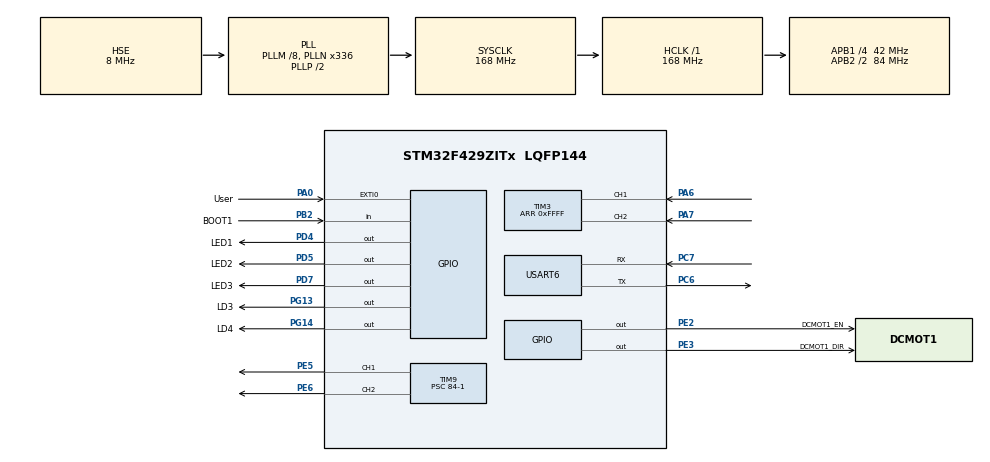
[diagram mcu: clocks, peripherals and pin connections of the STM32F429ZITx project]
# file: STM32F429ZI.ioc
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Mcu.Family=STM32F4
Mcu.Name=STM32F429ZITx
Mcu.Package=LQFP144
NVIC.EXTI0_IRQn=true\:0\:0\:false\:true\:true\:1\:true\:true
NVIC.PriorityGroup=NVIC_PRIORITYGROUP_4
NVIC.TIM1_BRK_TIM9_IRQn=true\:0\:0\:false\:true\:true\:4\:true\:true
NVIC.TIM3_IRQn=true\:0\:0\:false\:false\:true\:true\:true
NVIC.TIM6_DAC_IRQn=true\:0\:0\:false\:true\:true\:2\:true\:true
NVIC.USART6_IRQn=true\:0\:0\:false\:false\:true\:true\:true
PA0/WKUP.GPIO_Label=User
PA0/WKUP.Signal=GPXTI0
PA13.Mode=JTAG_4_pins
PA13.Signal=SYS_JTMS-SWDIO
PA14.Mode=JTAG_4_pins
PA14.Signal=SYS_JTCK-SWCLK
PA15.Mode=JTAG_4_pins
PA15.Signal=SYS_JTDI
PA6.GPIO_Speed=GPIO_SPEED_FREQ_VERY_HIGH
PA6.Signal=S_TIM3_CH1
PA7.GPIO_Speed=GPIO_SPEED_FREQ_VERY_HIGH
PA7.Signal=S_TIM3_CH2
PB2/BOOT1.GPIO_Label=BOOT1
PB2/BOOT1.Signal=GPIO_Input
PB3.Mode=JTAG_4_pins
PB3.Signal=SYS_JTDO-SWO
PC6.Mode=Asynchronous
PC6.Signal=USART6_TX
PC7.Mode=Asynchronous
PC7.Signal=USART6_RX
PD4.GPIO_Label=LED1
PD4.GPIO_ModeDefaultOutputPP=GPIO_MODE_OUTPUT_PP
PD4.GPIO_PuPd=GPIO_NOPULL
PD4.GPIO_Speed=GPIO_SPEED_FREQ_VERY_HIGH
PD4.PinState=GPIO_PIN_RESET
PD4.Signal=GPIO_Output
PD5.GPIO_Label=LED2
PD5.GPIO_ModeDefaultOutputPP=GPIO_MODE_OUTPUT_PP
PD5.GPIO_PuPd=GPIO_NOPULL
PD5.GPIO_Speed=GPIO_SPEED_FREQ_VERY_HIGH
PD5.PinState=GPIO_PIN_RESET
PD5.Signal=GPIO_Output
PD7.GPIO_Label=LED3
PD7.GPIO_ModeDefaultOutputPP=GPIO_MODE_OUTPUT_PP
PD7.GPIO_PuPd=GPIO_NOPULL
PD7.GPIO_Speed=GPIO_SPEED_FREQ_VERY_HIGH
PD7.PinState=GPIO_PIN_RESET
PD7.Signal=GPIO_Output
PE2.GPIO_Label=DCMOT1_EN
PE2.GPIO_Speed=GPIO_SPEED_FREQ_VERY_HIGH
PE2.Signal=GPIO_Output
PE3.GPIO_Label=DCMOT1_DIR
PE3.GPIO_Speed=GPIO_SPEED_FREQ_VERY_HIGH
PE3.Signal=GPIO_Output
PE5.Signal=S_TIM9_CH1
PE6.Signal=S_TIM9_CH2
PG13.GPIO_Label=LD3
PG13.Signal=GPIO_Output
PG14.GPIO_Label=LD4
PG14.Signal=GPIO_Output
PH0/OSC_IN.Mode=HSE-External-Clock-Source
PH0/OSC_IN.Signal=RCC_OSC_IN
PH1/OSC_OUT.Mode=HSE-External-Clock-Source
PH1/OSC_OUT.Signal=RCC_OSC_OUT
ProjectManager.HeapSize=0x200
ProjectManager.StackSize=0x400
ProjectManager.TargetToolchain=EWARM V8
RCC.48MHZClocksFreq_Value=84000000
RCC.AHBFreq_Value=168000000
RCC.APB1CLKDivider=RCC_HCLK_DIV4
RCC.APB1Freq_Value=42000000
RCC.APB1TimFreq_Value=84000000
RCC.APB2CLKDivider=RCC_HCLK_DIV2
RCC.APB2Freq_Value=84000000
RCC.APB2TimFreq_Value=168000000
RCC.CortexFreq_Value=168000000
RCC.HCLKFreq_Value=168000000
RCC.HSE_VALUE=8000000
RCC.HSI_VALUE=16000000
RCC.LSE_VALUE=32768
RCC.PLLM=8
RCC.PLLN=336
RCC.PLLSAIN=432
RCC.PLLSourceVirtual=RCC_PLLSOURCE_HSE
RCC.SYSCLKFreq_VALUE=168000000
RCC.SYSCLKSource=RCC_SYSCLKSOURCE_PLLCLK
RCC.VCOOutputFreq_Value=336000000
SH.S_TIM3_CH1.0=TIM3_CH1,Encoder_Interface
SH.S_TIM3_CH2.0=TIM3_CH2,Encoder_Interface
SH.S_TIM9_CH1.0=TIM9_CH1,PWM Generation1 CH1
SH.S_TIM9_CH2.0=TIM9_CH2,PWM Generation2 CH2
TIM3.Period=0xFFFF
TIM6.Period=1000-1
TIM6.Prescaler=84-1
TIM9.Channel-PWM\ Generation1\ CH1=TIM_CHANNEL_1
TIM9.Channel-PWM\ Generation2\ CH2=TIM_CHANNEL_2
TIM9.Period=100-1
TIM9.Prescaler=84-1
TIM9.Pulse-PWM\ Generation1\ CH1=30
TIM9.Pulse-PWM\ Generation2\ CH2=70
USART6.VirtualMode=VM_ASYNC
VP_TIM6_VS_ClockSourceINT.Mode=Enable_Timer
board=custom

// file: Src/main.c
/* USER CODE BEGIN Header */
/**
  ******************************************************************************
  * @file           : main.c
  * @brief          : Main program body
  ******************************************************************************
  * @attention
  *
  * <h2><center>&copy; Copyright (c) 2020 STMicroelectronics.
  * All rights reserved.</center></h2>
  *
  * This software component is licensed by ST under BSD 3-Clause license,
  * the "License"; You may not use this file except in compliance with the
  * License. You may obtain a copy of the License at:
  *                        opensource.org/licenses/BSD-3-Clause
  *
  ******************************************************************************
  */
/* USER CODE END Header */

#include "main.h"

/* USER CODE BEGIN Includes */
#include <stdio.h>
#include <string.h>
#include <math.h>
#include "math.h"
#include "mathext.h"
#include "DcMotor.h"
#include "DcMotorExtern.h"

/* USER CODE END Includes */

/* USER CODE BEGIN PD */
#define PI  3.14159265358979323846264338327950288419716939937510582097494459230781640628
#define DIR_CW GPIO_PIN_RESET
#define DIR_CCW GPIO_PIN_SET
#define PWM_MAX_PERIOD 100
#define PWM_PULSE_STEP 1

#define PWM_MAX_STEP  10
#define SUM_TYPE 1
#define PWM_MIN_POSITIVE 25
#define PWM_MIN_NEGATIVE 25

/* USER CODE END PD */

/* USER CODE BEGIN PM */
#define DCmotor_EN() HAL_GPIO_WritePin(DCMOT1_EN_GPIO_Port, DCMOT1_EN_Pin, GPIO_PIN_RESET)
#define DCmotor_Dis() HAL_GPIO_WritePin(DCMOT1_EN_GPIO_Port, DCMOT1_EN_Pin, GPIO_PIN_SET)

#define DCmotor_CW() HAL_GPIO_WritePin(DCMOT1_DIR_GPIO_Port, DCMOT1_DIR_Pin, GPIO_PIN_RESET)
#define DCmotor_CCW() HAL_GPIO_WritePin(DCMOT1_DIR_GPIO_Port, DCMOT1_DIR_Pin, GPIO_PIN_SET)

#define DCmotor_ReadEN() ((int16_t) __HAL_TIM_GET_COUNTER(&htim3)

void DCmotor_setDutyPulse(TIM_HandleTypeDef *htim, int16_t pulse);

#define round(x) ((x)>=0?(long)((x)+0.5):(long)((x)-0.5))
/* USER CODE END PM */

TIM_HandleTypeDef htim3;
TIM_HandleTypeDef htim6;
TIM_HandleTypeDef htim9;

UART_HandleTypeDef huart6;

/* USER CODE BEGIN PV */
 int16_t nTim3CNT16Now=0;
 int16_t nTim3CNT16Old=0, nTim3CNT16Diff = 0;

 int nMot1Velocity=0;

   char string[150];
   int32_t nEncoder32Now=0;//32비트 엔코더용
   int32_t nEncoder32Old=0;//32비트 엔코더용
   int32_t nEncoder32Diff=0;//32비트 엔코더 차이

   int16_t step=0;
   int16_t PwmDuty =0;

/* USER CODE END PV */

void SystemClock_Config(void);
static void MX_GPIO_Init(void);
static void MX_TIM6_Init(void);
static void MX_TIM3_Init(void);
static void MX_TIM9_Init(void);
static void MX_USART6_UART_Init(void);
static void MX_NVIC_Init(void);

/* USER CODE BEGIN 0 */
void DCmotor_setDutyPulse(TIM_HandleTypeDef *htim, int16_t pulse)
{
  if(pulse >= 100)
  {
    pulse = 100;
  }
  else if(pulse < -100)
  {
    pulse = -100;
  }
  DCmotor_EN();

  if(pulse >= 0)
     {
       DCmotor_CW();
        __HAL_TIM_SET_COMPARE(htim, TIM_CHANNEL_1, pulse);
     }
     else
     {
       DCmotor_CCW();
        __HAL_TIM_SET_COMPARE(htim, TIM_CHANNEL_1, -1*pulse);
     }
  HAL_TIM_PWM_Start(htim, TIM_CHANNEL_1);
}

void ReadEncoder()
{
		nTim3CNT16Now = __HAL_TIM_GET_COUNTER(&htim3);
		//엔코더 위치값 차이 계산
		nTim3CNT16Diff = nTim3CNT16Now - nTim3CNT16Old;
		nTim3CNT16Old = nTim3CNT16Now; //현재값을 old에 저장
		nEncoder32Now += nTim3CNT16Diff;//16비트 엔코더 차이값을 더해서 32비트 엔코더 저장변수생성
		nEncoder32Diff =nEncoder32Now-nEncoder32Old;
		nEncoder32Old = nEncoder32Now;
}

/* USER CODE END 0 */

int main(void)
{

  /* MCU Configuration--------------------------------------------------------*/

  /* Reset of all peripherals, Initializes the Flash interface and the Systick. */
  HAL_Init();

  /* Configure the system clock */
  SystemClock_Config();

  /* Initialize all configured peripherals */
  MX_GPIO_Init();
  MX_TIM6_Init();
  MX_TIM3_Init();
  MX_TIM9_Init();
  MX_USART6_UART_Init();

  /* Initialize interrupts */
  MX_NVIC_Init();
  /* USER CODE BEGIN 2 */
  HAL_TIM_Base_Start_IT(&htim6);
   HAL_TIM_Encoder_Start(&htim3, TIM_CHANNEL_1 | TIM_CHANNEL_2 );
   HAL_TIM_PWM_Start(&htim9, TIM_CHANNEL_1);
  /* USER CODE END 2 */

  /* Infinite loop */
  while (1)
  {

    /* USER CODE BEGIN 3 */
      //nTim3CNT16Now = __HAL_TIM_GET_COUNTER(&htim3);
      /*
      nMot1Velocity = round(100*sin(2*PI*nStep/100.) );
      DcMotor1SetDutyPulse(&htim9, nMot1Velocity );
      */

      ReadEncoder();
      sprintf(string, "%4d %8d %8d %8d \r\n", step, PwmDuty, nEncoder32Now, nEncoder32Diff);
	DCmotor_setDutyPulse(&htim9, PwmDuty);
	HAL_UART_Transmit(&huart6, (uint8_t *)string, strlen(string), 0xFFFF);
	step++;
	HAL_Delay(1000-1);

    //HAL_StatusTypeDef HAL_UART_Transmit(UART_HandleTypeDef *huart, uint8_t *pData, uint16_t Size, uint32_t Timeout);
      // 문자열 길이많큼 출력
     // HAL_UART_Transmit(&huart1, (uint8_t *)"U", strlen("U"), 0xFFFF);
  //    HAL_GPIO_TogglePin(LD3_GPIO_Port, LD3_Pin);
   //   HAL_Delay(1000-1);
  }
  /* USER CODE END 3 */
}

void SystemClock_Config(void)
{
  RCC_OscInitTypeDef RCC_OscInitStruct = {0};
  RCC_ClkInitTypeDef RCC_ClkInitStruct = {0};

  /** Configure the main internal regulator output voltage
  */
  __HAL_RCC_PWR_CLK_ENABLE();
  __HAL_PWR_VOLTAGESCALING_CONFIG(PWR_REGULATOR_VOLTAGE_SCALE1);
  /** Initializes the CPU, AHB and APB busses clocks
  */
  RCC_OscInitStruct.OscillatorType = RCC_OSCILLATORTYPE_HSE;
  RCC_OscInitStruct.HSEState = RCC_HSE_BYPASS;
  RCC_OscInitStruct.PLL.PLLState = RCC_PLL_ON;
  RCC_OscInitStruct.PLL.PLLSource = RCC_PLLSOURCE_HSE;
  RCC_OscInitStruct.PLL.PLLM = 8;
  RCC_OscInitStruct.PLL.PLLN = 336;
  RCC_OscInitStruct.PLL.PLLP = RCC_PLLP_DIV2;
  RCC_OscInitStruct.PLL.PLLQ = 4;
  if (HAL_RCC_OscConfig(&RCC_OscInitStruct) != HAL_OK)
  {
    Error_Handler();
  }
  /** Initializes the CPU, AHB and APB busses clocks
  */
  RCC_ClkInitStruct.ClockType = RCC_CLOCKTYPE_HCLK|RCC_CLOCKTYPE_SYSCLK
                              |RCC_CLOCKTYPE_PCLK1|RCC_CLOCKTYPE_PCLK2;
  RCC_ClkInitStruct.SYSCLKSource = RCC_SYSCLKSOURCE_PLLCLK;
  RCC_ClkInitStruct.AHBCLKDivider = RCC_SYSCLK_DIV1;
  RCC_ClkInitStruct.APB1CLKDivider = RCC_HCLK_DIV4;
  RCC_ClkInitStruct.APB2CLKDivider = RCC_HCLK_DIV2;

  if (HAL_RCC_ClockConfig(&RCC_ClkInitStruct, FLASH_LATENCY_5) != HAL_OK)
  {
    Error_Handler();
  }
}

/**
  * @brief NVIC Configuration.
  * @retval None
  */
static void MX_NVIC_Init(void)
{
  /* EXTI0_IRQn interrupt configuration */
  HAL_NVIC_SetPriority(EXTI0_IRQn, 0, 0);
  HAL_NVIC_EnableIRQ(EXTI0_IRQn);
  /* TIM6_DAC_IRQn interrupt configuration */
  HAL_NVIC_SetPriority(TIM6_DAC_IRQn, 0, 0);
  HAL_NVIC_EnableIRQ(TIM6_DAC_IRQn);
  /* TIM1_BRK_TIM9_IRQn interrupt configuration */
  HAL_NVIC_SetPriority(TIM1_BRK_TIM9_IRQn, 0, 0);
  HAL_NVIC_EnableIRQ(TIM1_BRK_TIM9_IRQn);
}

static void MX_TIM3_Init(void)
{

  TIM_Encoder_InitTypeDef sConfig = {0};
  TIM_MasterConfigTypeDef sMasterConfig = {0};

  htim3.Instance = TIM3;
  htim3.Init.Prescaler = 0;
  htim3.Init.CounterMode = TIM_COUNTERMODE_UP;
  htim3.Init.Period = 0xFFFF;
  htim3.Init.ClockDivision = TIM_CLOCKDIVISION_DIV1;
  htim3.Init.AutoReloadPreload = TIM_AUTORELOAD_PRELOAD_DISABLE;
  sConfig.EncoderMode = TIM_ENCODERMODE_TI1;
  sConfig.IC1Polarity = TIM_ICPOLARITY_RISING;
  sConfig.IC1Selection = TIM_ICSELECTION_DIRECTTI;
  sConfig.IC1Prescaler = TIM_ICPSC_DIV1;
  sConfig.IC1Filter = 0;
  sConfig.IC2Polarity = TIM_ICPOLARITY_RISING;
  sConfig.IC2Selection = TIM_ICSELECTION_DIRECTTI;
  sConfig.IC2Prescaler = TIM_ICPSC_DIV1;
  sConfig.IC2Filter = 0;
  if (HAL_TIM_Encoder_Init(&htim3, &sConfig) != HAL_OK)
  {
    Error_Handler();
  }
  sMasterConfig.MasterOutputTrigger = TIM_TRGO_RESET;
  sMasterConfig.MasterSlaveMode = TIM_MASTERSLAVEMODE_DISABLE;
  if (HAL_TIMEx_MasterConfigSynchronization(&htim3, &sMasterConfig) != HAL_OK)
  {
    Error_Handler();
  }

}

static void MX_TIM6_Init(void)
{

  TIM_MasterConfigTypeDef sMasterConfig = {0};

  htim6.Instance = TIM6;
  htim6.Init.Prescaler = 84-1;
  htim6.Init.CounterMode = TIM_COUNTERMODE_UP;
  htim6.Init.Period = 1000-1;
  htim6.Init.AutoReloadPreload = TIM_AUTORELOAD_PRELOAD_DISABLE;
  if (HAL_TIM_Base_Init(&htim6) != HAL_OK)
  {
    Error_Handler();
  }
  sMasterConfig.MasterOutputTrigger = TIM_TRGO_RESET;
  sMasterConfig.MasterSlaveMode = TIM_MASTERSLAVEMODE_DISABLE;
  if (HAL_TIMEx_MasterConfigSynchronization(&htim6, &sMasterConfig) != HAL_OK)
  {
    Error_Handler();
  }

}

static void MX_TIM9_Init(void)
{

  TIM_OC_InitTypeDef sConfigOC = {0};

  htim9.Instance = TIM9;
  htim9.Init.Prescaler = 84-1;
  htim9.Init.CounterMode = TIM_COUNTERMODE_UP;
  htim9.Init.Period = 100-1;
  htim9.Init.ClockDivision = TIM_CLOCKDIVISION_DIV1;
  htim9.Init.AutoReloadPreload = TIM_AUTORELOAD_PRELOAD_DISABLE;
  if (HAL_TIM_PWM_Init(&htim9) != HAL_OK)
  {
    Error_Handler();
  }
  sConfigOC.OCMode = TIM_OCMODE_PWM1;
  sConfigOC.Pulse = 30;
  sConfigOC.OCPolarity = TIM_OCPOLARITY_HIGH;
  sConfigOC.OCFastMode = TIM_OCFAST_DISABLE;
  if (HAL_TIM_PWM_ConfigChannel(&htim9, &sConfigOC, TIM_CHANNEL_1) != HAL_OK)
  {
    Error_Handler();
  }
  sConfigOC.Pulse = 70;
  if (HAL_TIM_PWM_ConfigChannel(&htim9, &sConfigOC, TIM_CHANNEL_2) != HAL_OK)
  {
    Error_Handler();
  }
  HAL_TIM_MspPostInit(&htim9);

}

static void MX_USART6_UART_Init(void)
{

  huart6.Instance = USART6;
  huart6.Init.BaudRate = 115200;
  huart6.Init.WordLength = UART_WORDLENGTH_8B;
  huart6.Init.StopBits = UART_STOPBITS_1;
  huart6.Init.Parity = UART_PARITY_NONE;
  huart6.Init.Mode = UART_MODE_TX_RX;
  huart6.Init.HwFlowCtl = UART_HWCONTROL_NONE;
  huart6.Init.OverSampling = UART_OVERSAMPLING_16;
  if (HAL_UART_Init(&huart6) != HAL_OK)
  {
    Error_Handler();
  }

}

static void MX_GPIO_Init(void)
{
  GPIO_InitTypeDef GPIO_InitStruct = {0};

  /* GPIO Ports Clock Enable */
  __HAL_RCC_GPIOE_CLK_ENABLE();
  __HAL_RCC_GPIOH_CLK_ENABLE();
  __HAL_RCC_GPIOA_CLK_ENABLE();
  __HAL_RCC_GPIOB_CLK_ENABLE();
  __HAL_RCC_GPIOC_CLK_ENABLE();
  __HAL_RCC_GPIOD_CLK_ENABLE();
  __HAL_RCC_GPIOG_CLK_ENABLE();

  /*Configure GPIO pin Output Level */
  HAL_GPIO_WritePin(GPIOE, DCMOT1_EN_Pin|DCMOT1_DIR_Pin, GPIO_PIN_RESET);

  /*Configure GPIO pin Output Level */
  HAL_GPIO_WritePin(GPIOD, LED1_Pin|LED2_Pin|LED3_Pin, GPIO_PIN_RESET);

  /*Configure GPIO pin Output Level */
  HAL_GPIO_WritePin(GPIOG, LD3_Pin|LD4_Pin, GPIO_PIN_RESET);

  /*Configure GPIO pins : DCMOT1_EN_Pin DCMOT1_DIR_Pin */
  GPIO_InitStruct.Pin = DCMOT1_EN_Pin|DCMOT1_DIR_Pin;
  GPIO_InitStruct.Mode = GPIO_MODE_OUTPUT_PP;
  GPIO_InitStruct.Pull = GPIO_NOPULL;
  GPIO_InitStruct.Speed = GPIO_SPEED_FREQ_VERY_HIGH;
  HAL_GPIO_Init(GPIOE, &GPIO_InitStruct);

  /*Configure GPIO pin : User_Pin */
  GPIO_InitStruct.Pin = User_Pin;
  GPIO_InitStruct.Mode = GPIO_MODE_IT_RISING;
  GPIO_InitStruct.Pull = GPIO_NOPULL;
  HAL_GPIO_Init(User_GPIO_Port, &GPIO_InitStruct);

  /*Configure GPIO pin : BOOT1_Pin */
  GPIO_InitStruct.Pin = BOOT1_Pin;
  GPIO_InitStruct.Mode = GPIO_MODE_INPUT;
  GPIO_InitStruct.Pull = GPIO_NOPULL;
  HAL_GPIO_Init(BOOT1_GPIO_Port, &GPIO_InitStruct);

  /*Configure GPIO pins : LED1_Pin LED2_Pin LED3_Pin */
  GPIO_InitStruct.Pin = LED1_Pin|LED2_Pin|LED3_Pin;
  GPIO_InitStruct.Mode = GPIO_MODE_OUTPUT_PP;
  GPIO_InitStruct.Pull = GPIO_NOPULL;
  GPIO_InitStruct.Speed = GPIO_SPEED_FREQ_VERY_HIGH;
  HAL_GPIO_Init(GPIOD, &GPIO_InitStruct);

  /*Configure GPIO pins : LD3_Pin LD4_Pin */
  GPIO_InitStruct.Pin = LD3_Pin|LD4_Pin;
  GPIO_InitStruct.Mode = GPIO_MODE_OUTPUT_PP;
  GPIO_InitStruct.Pull = GPIO_NOPULL;
  GPIO_InitStruct.Speed = GPIO_SPEED_FREQ_LOW;
  HAL_GPIO_Init(GPIOG, &GPIO_InitStruct);

}

/* USER CODE BEGIN 4 */

void HAL_GPIO_EXTI_Callback(uint16_t GPIO_Pin)
{

	static int dir=1;

 	if (GPIO_Pin== GPIO_PIN_0){
		HAL_GPIO_TogglePin(LD3_GPIO_Port, LD3_Pin);
		if( dir >0)
			if((PwmDuty+PWM_PULSE_STEP) <=PWM_MAX_PERIOD)
			  	PwmDuty +=PWM_PULSE_STEP;
			else {
			  dir=-1;
			  PwmDuty =PWM_MAX_PERIOD;
			}
		else
			if( (PwmDuty-PWM_PULSE_STEP) >=-PWM_MAX_PERIOD )
				PwmDuty  -= PWM_PULSE_STEP;
			else {
				dir=1;
				PwmDuty =-PWM_MAX_PERIOD;
			}
 	}
}

void HAL_TIM_PeriodElapsedCallback(TIM_HandleTypeDef *htim)
{
  if( htim->Instance == TIM6)
      HAL_GPIO_TogglePin(LD3_GPIO_Port,  LD3_Pin);
}

/* USER CODE END 4 */

void Error_Handler(void)
{
}

/************************ (C) COPYRIGHT STMicroelectronics *****END OF FILE****/
